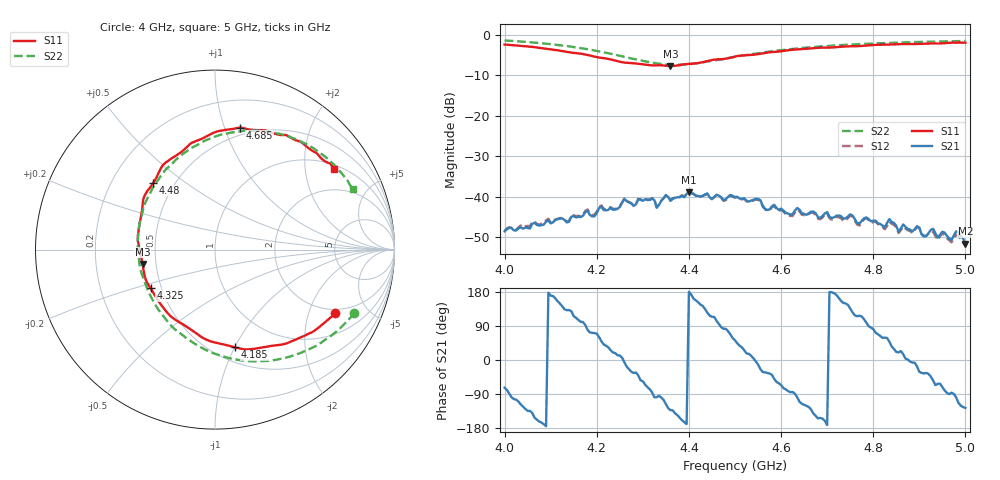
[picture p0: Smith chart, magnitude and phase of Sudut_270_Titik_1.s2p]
# Hz S RI R 50
! CMT, C1220, 16058040, 17.2.0/1
! Date: 15/08/2018 11:35:45
! Data: Format (Calibration Info)
! Freq  S11: Re/Im (F2)  S21: Re/Im (F2)  S12: Re/Im (F2)  S22: Re/Im (F2)
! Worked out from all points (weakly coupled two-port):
!   201 points, 4 GHz to 5 GHz, reference 50 ohm
!   highest |S21| = -38.91 dB at 4.4 GHz (marker M1); lowest = -51.6 dB at 5 GHz (marker M2)
!   lowest |S11| = -7.7 dB at 4.36 GHz (marker M3), VSWR 2.39, Z = 21 - j4.02 ohm
!   |S11| at or under -10 dB: nowhere
!   |S22| runs from -7.4 to -1.4 dB; largest |S21 - S12| = 0.00041
!   S11 on the Smith chart (normalised r, x): 4 GHz: 1.81, -3.02; 4.185 GHz: 0.64, -1.00; 4.325 GHz: 0.44, -0.23; 4.48 GHz: 0.38, +0.38; 4.685 GHz: 0.43, +1.13; 5 GHz: 1.15, +2.84
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4e9  0.6696 -0.3551  0.00109 -0.00358  0.00128 -0.0036  0.7748 -0.3533
4.17e9  0.1634 -0.5556  -0.00103 0.00573  -0.00121 0.00585  0.2743 -0.6209
4.185e9  0.1103 -0.5445  0.00176 0.0057  0.00174 0.006  0.2098 -0.6225
4.26e9  -0.1745 -0.4186  0.0094 -0.00101  0.00955 -0.00105  -0.118 -0.5214
4.325e9  -0.3592 -0.2141  -0.00134 -0.00901  -0.00142 -0.00917  -0.3425 -0.2891
4.335e9  -0.3804 -0.1804  -0.000587 -0.00789  -0.000705 -0.00796  -0.3657 -0.2452
4.35e9  -0.3965 -0.1219  -0.00459 -0.00937  -0.00464 -0.00941  -0.3939 -0.1726
4.36e9  -0.4031 -0.0795  -0.00599 -0.0066  -0.00613 -0.00655  -0.4111 -0.1263
4.4e9  -0.4291 0.0858  -0.0113 2.21e-05  -0.0114 0.000325  -0.4283 0.0739
4.48e9  -0.3428 0.3733  0.00123 0.00923  0.00138 0.00896  -0.3019 0.411
4.5e9  -0.3061 0.4438  0.00615 0.0078  0.00603 0.00762  -0.2464 0.4725
4.62e9  -0.0108 0.65  0.000527 -0.00602  0.000445 -0.00576  0.1112 0.6553
4.67e9  0.1104 0.6741  -0.00512 -0.00413  -0.00492 -0.00395  0.2467 0.6625
4.685e9  0.1393 0.6794  -0.00488 -0.00251  -0.0047 -0.0024  0.2834 0.659
4.785e9  0.3685 0.6381  -0.000838 0.00549  -0.00095 0.00535  0.5003 0.5922
4.825e9  0.4261 0.6208  0.00216 0.0036  0.0021 0.00337  0.5674 0.5513
4.835e9  0.4451 0.6113  0.00354 0.00395  0.00324 0.00371  0.5823 0.5405
4.855e9  0.4772 0.6004  0.00349 0.00127  0.00332 0.00128  0.6124 0.5182
4.9e9  0.543 0.5498  0.00354 -0.00215  0.00365 -0.00199  0.6696 0.4652
4.97e9  0.6391 0.4809  0.00019 -0.00292  0.000118 -0.00273  0.7421 0.3783
4.98e9  0.6457 0.4753  -0.000575 -0.0037  -0.000546 -0.00336  0.7495 0.3639
5e9  0.6608 0.448  -0.00156 -0.00212  -0.00135 -0.00205  0.7676 0.3376
